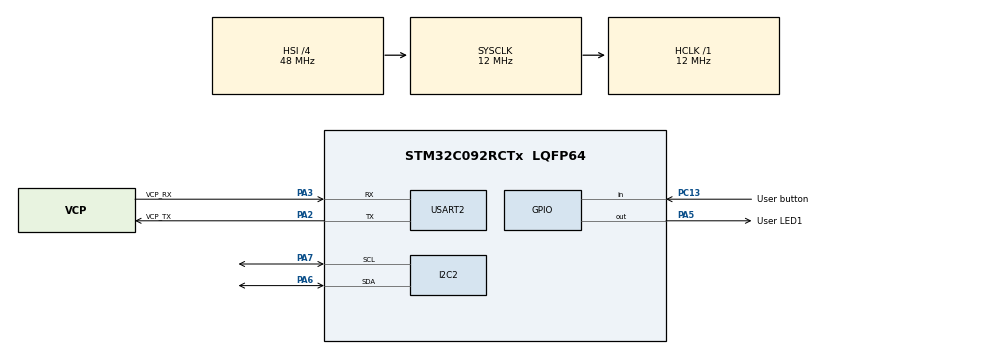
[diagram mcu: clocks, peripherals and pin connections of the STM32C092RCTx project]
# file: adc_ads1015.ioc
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I2C2.Timing=0x00402D41
Mcu.Family=STM32C0
Mcu.Name=STM32C092RCTx
Mcu.Package=LQFP64
PA13.GPIO_Label=SWDIO
PA13.Signal=DEBUG_SWDIO
PA14-BOOT0.GPIO_Label=SWCLK
PA14-BOOT0.Signal=DEBUG_SWCLK
PA2.GPIO_Label=VCP_TX
PA2.Mode=Asynchronous
PA2.Signal=USART2_TX
PA3.GPIO_Label=VCP_RX
PA3.Mode=Asynchronous
PA3.Signal=USART2_RX
PA5.GPIO_Label=User LED1
PA5.Signal=GPIO_Output
PA6.Mode=I2C
PA6.Signal=I2C2_SDA
PA7.Mode=I2C
PA7.Signal=I2C2_SCL
PC13.GPIO_Label=User button
PC13.Signal=GPIO_Input
PC14-OSCX_IN(PC14).GPIO_Label=OSCX_IN
PC14-OSCX_IN(PC14).Signal=RCC_OSCX_IN
PC15-OSCX_OUT(PC15).GPIO_Label=OSCX_OUT
PC15-OSCX_OUT(PC15).Signal=RCC_OSCX_OUT
PF0-OSC_IN(PF0).GPIO_Label=OSC_IN
PF0-OSC_IN(PF0).Signal=RCC_OSC_IN
PF1-OSC_OUT(PF1).GPIO_Label=OSC_OUT
PF1-OSC_OUT(PF1).Signal=RCC_OSC_OUT
ProjectManager.HeapSize=0x200
ProjectManager.StackSize=0x400
ProjectManager.TargetToolchain=STM32CubeIDE
RCC.ADCFreq_Value=12000000
RCC.AHBFreq_Value=12000000
RCC.CortexFreq_Value=12000000
RCC.EXTERNAL_CLOCK_VALUE=12288000
RCC.HCLKFreq_Value=12000000
RCC.HSE_VALUE=8000000
RCC.HSI_VALUE=48000000
RCC.LSE_VALUE=32768
RCC.SYSCLKFreq_VALUE=12000000
USART2.VirtualMode-Asynchronous=VM_ASYNC
board=NUCLEO-C092RC

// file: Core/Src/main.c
/* USER CODE BEGIN Header */
/**
  ******************************************************************************
  * @file           : main.c
  * @brief          : Main program body
  ******************************************************************************
  * @attention
  *
  * Copyright (c) 2026 STMicroelectronics.
  * All rights reserved.
  *
  * This software is licensed under terms that can be found in the LICENSE file
  * in the root directory of this software component.
  * If no LICENSE file comes with this software, it is provided AS-IS.
  *
  ******************************************************************************
  */
/* USER CODE END Header */
#include "main.h"

/* USER CODE BEGIN Includes */
#include <stdio.h>
/* USER CODE END Includes */

I2C_HandleTypeDef hi2c2;

UART_HandleTypeDef huart2;

/* USER CODE BEGIN PV */
#define ADS1015_ADDR        (0x48 << 1)
#define ADS1015_REG_CONV    0x00
#define ADS1015_REG_CONFIG  0x01
volatile int16_t g_ch0_raw = 0;
volatile int16_t g_ch1_raw = 0;
volatile int16_t g_ch2_raw = 0;
volatile int16_t g_ch3_raw = 0;
volatile int32_t g_ch0_mv = 0;
volatile int32_t g_ch1_mv = 0;
volatile int32_t g_ch2_mv = 0;
volatile int32_t g_ch3_mv = 0;
/* USER CODE END PV */

void SystemClock_Config(void);
static void MX_GPIO_Init(void);
static void MX_USART2_UART_Init(void);
static void MX_I2C2_Init(void);

/* USER CODE BEGIN 0 */
// Reads one channel from ADS1015 in single-ended mode, ±4.096V range
int16_t ADS1015_Read(uint8_t channel)
{
    if (channel > 3) return 0;

    // Build 16-bit config word:
    //   Bit 15:    OS = 1 (start single conversion)
    //   Bits 14:12 MUX = 100 + channel (single-ended: AINx vs GND)
    //   Bits 11:9  PGA = 001 (±4.096V range — covers 0..3.3V)
    //   Bit 8:     MODE = 1 (single-shot)
    //   Bits 7:5   DR = 100 (1600 SPS, default)
    //   Bit 4:     COMP_MODE = 0
    //   Bit 3:     COMP_POL = 0
    //   Bit 2:     COMP_LAT = 0
    //   Bits 1:0   COMP_QUE = 11 (disable comparator)
    uint16_t config = 0
        | (1U << 15)                        // start conversion
        | ((uint16_t)(0x4 | channel) << 12) // MUX: AINx vs GND
        | (0x1 << 9)                        // PGA = ±4.096V
        | (1U << 8)                         // single-shot mode
        | (0x4 << 5)                        // 1600 SPS
        | 0x3;                              // disable comparator

    // Write config to register 0x01 (3 bytes: pointer + config MSB + config LSB)
    uint8_t tx[3];
    tx[0] = ADS1015_REG_CONFIG;
    tx[1] = (uint8_t)(config >> 8);
    tx[2] = (uint8_t)(config & 0xFF);

    HAL_StatusTypeDef s1 = HAL_I2C_Master_Transmit(
        &hi2c2, ADS1015_ADDR, tx, 3, HAL_MAX_DELAY);
    if (s1 != HAL_OK) {
        printf("  [I2C write failed: %d]\r\n", (int)s1);
        return 0;
    }

    // Wait for conversion. At 1600 SPS, conversion takes ~625 us.
    // 2ms is plenty of margin.
    HAL_Delay(2);

    // Set pointer register to conversion register (0x00)
    uint8_t ptr = ADS1015_REG_CONV;
    HAL_StatusTypeDef s2 = HAL_I2C_Master_Transmit(
        &hi2c2, ADS1015_ADDR, &ptr, 1, HAL_MAX_DELAY);
    if (s2 != HAL_OK) {
        printf("  [I2C ptr write failed: %d]\r\n", (int)s2);
        return 0;
    }

    // Read 2 bytes of result
    uint8_t rx[2] = {0};
    HAL_StatusTypeDef s3 = HAL_I2C_Master_Receive(
        &hi2c2, ADS1015_ADDR, rx, 2, HAL_MAX_DELAY);
    if (s3 != HAL_OK) {
        printf("  [I2C read failed: %d]\r\n", (int)s3);
        return 0;
    }

    // Combine to 16-bit value, then shift right 4 (ADS1015 result is left-aligned)
    int16_t raw = (int16_t)(((uint16_t)rx[0] << 8) | rx[1]);
    raw >>= 4;
    return raw;
}
/* USER CODE END 0 */

int main(void)
{

  /* MCU Configuration--------------------------------------------------------*/

  /* Reset of all peripherals, Initializes the Flash interface and the Systick. */
  HAL_Init();

  /* Configure the system clock */
  SystemClock_Config();

  /* Initialize all configured peripherals */
  MX_GPIO_Init();
  MX_USART2_UART_Init();
  MX_I2C2_Init();
  /* USER CODE BEGIN 2 */
  HAL_Delay(500);
  printf("PGA = +/- 4.096V, single-shot, 1600 SPS\r\n\r\n");

  // Quick presence check — scan for the device at 0x48
  if (HAL_I2C_IsDeviceReady(&hi2c2, ADS1015_ADDR, 3, 100) == HAL_OK) {
      printf("ADS1015 detected at 0x48\r\n\r\n");
  } else {
      printf("WARNING: ADS1015 not responding at 0x48\r\n");
      printf("Check: VDD/GND, SDA/SCL wiring, ADDR pin tied to GND\r\n\r\n");
  }
  /* USER CODE END 2 */

  /* Infinite loop */
  while (1)
  {

    /* USER CODE BEGIN 3 */
	    int16_t ch0 = ADS1015_Read(0);
	    int16_t ch1 = ADS1015_Read(1);
	    int16_t ch2 = ADS1015_Read(2);
	    int16_t ch3 = ADS1015_Read(3);

	    // PGA = ±4.096V → 1 LSB = 2 mV
	    int32_t mv0 = (int32_t)ch0 * 2;
	    int32_t mv1 = (int32_t)ch1 * 2;
	    int32_t mv2 = (int32_t)ch2 * 2;
	    int32_t mv3 = (int32_t)ch3 * 2;

	    printf("CH0: %5d (%5ld mV)   CH1: %5d (%5ld mV)   CH2: %5d (%5ld mV)   CH3: %5d (%5ld mV)\r\n",
	           ch0, mv0, ch1, mv1, ch2, mv2, ch3, mv3);

	    HAL_Delay(200);

  }
  /* USER CODE END 3 */
}

void SystemClock_Config(void)
{
  RCC_OscInitTypeDef RCC_OscInitStruct = {0};
  RCC_ClkInitTypeDef RCC_ClkInitStruct = {0};

  __HAL_FLASH_SET_LATENCY(FLASH_LATENCY_0);

  /** Initializes the RCC Oscillators according to the specified parameters
  * in the RCC_OscInitTypeDef structure.
  */
  RCC_OscInitStruct.OscillatorType = RCC_OSCILLATORTYPE_HSI;
  RCC_OscInitStruct.HSIState = RCC_HSI_ON;
  RCC_OscInitStruct.HSIDiv = RCC_HSI_DIV4;
  RCC_OscInitStruct.HSICalibrationValue = RCC_HSICALIBRATION_DEFAULT;
  if (HAL_RCC_OscConfig(&RCC_OscInitStruct) != HAL_OK)
  {
    Error_Handler();
  }

  /** Initializes the CPU, AHB and APB buses clocks
  */
  RCC_ClkInitStruct.ClockType = RCC_CLOCKTYPE_HCLK|RCC_CLOCKTYPE_SYSCLK
                              |RCC_CLOCKTYPE_PCLK1;
  RCC_ClkInitStruct.SYSCLKSource = RCC_SYSCLKSOURCE_HSI;
  RCC_ClkInitStruct.SYSCLKDivider = RCC_SYSCLK_DIV1;
  RCC_ClkInitStruct.AHBCLKDivider = RCC_HCLK_DIV1;
  RCC_ClkInitStruct.APB1CLKDivider = RCC_APB1_DIV1;

  if (HAL_RCC_ClockConfig(&RCC_ClkInitStruct, FLASH_LATENCY_0) != HAL_OK)
  {
    Error_Handler();
  }
}

static void MX_I2C2_Init(void)
{

  hi2c2.Instance = I2C2;
  hi2c2.Init.Timing = 0x00402D41;
  hi2c2.Init.OwnAddress1 = 0;
  hi2c2.Init.AddressingMode = I2C_ADDRESSINGMODE_7BIT;
  hi2c2.Init.DualAddressMode = I2C_DUALADDRESS_DISABLE;
  hi2c2.Init.OwnAddress2 = 0;
  hi2c2.Init.OwnAddress2Masks = I2C_OA2_NOMASK;
  hi2c2.Init.GeneralCallMode = I2C_GENERALCALL_DISABLE;
  hi2c2.Init.NoStretchMode = I2C_NOSTRETCH_DISABLE;
  if (HAL_I2C_Init(&hi2c2) != HAL_OK)
  {
    Error_Handler();
  }

  /** Configure Analogue filter
  */
  if (HAL_I2CEx_ConfigAnalogFilter(&hi2c2, I2C_ANALOGFILTER_ENABLE) != HAL_OK)
  {
    Error_Handler();
  }

  /** Configure Digital filter
  */
  if (HAL_I2CEx_ConfigDigitalFilter(&hi2c2, 0) != HAL_OK)
  {
    Error_Handler();
  }

}

static void MX_USART2_UART_Init(void)
{

  huart2.Instance = USART2;
  huart2.Init.BaudRate = 115200;
  huart2.Init.WordLength = UART_WORDLENGTH_8B;
  huart2.Init.StopBits = UART_STOPBITS_1;
  huart2.Init.Parity = UART_PARITY_NONE;
  huart2.Init.Mode = UART_MODE_TX_RX;
  huart2.Init.HwFlowCtl = UART_HWCONTROL_NONE;
  huart2.Init.OverSampling = UART_OVERSAMPLING_16;
  huart2.Init.OneBitSampling = UART_ONE_BIT_SAMPLE_DISABLE;
  huart2.Init.ClockPrescaler = UART_PRESCALER_DIV1;
  huart2.AdvancedInit.AdvFeatureInit = UART_ADVFEATURE_NO_INIT;
  if (HAL_UART_Init(&huart2) != HAL_OK)
  {
    Error_Handler();
  }

}

static void MX_GPIO_Init(void)
{
  GPIO_InitTypeDef GPIO_InitStruct = {0};

  /* GPIO Ports Clock Enable */
  __HAL_RCC_GPIOC_CLK_ENABLE();
  __HAL_RCC_GPIOF_CLK_ENABLE();
  __HAL_RCC_GPIOA_CLK_ENABLE();

  /*Configure GPIO pin Output Level */
  HAL_GPIO_WritePin(User_LED1_GPIO_Port, User_LED1_Pin, GPIO_PIN_RESET);

  /*Configure GPIO pin : User_button_Pin */
  GPIO_InitStruct.Pin = User_button_Pin;
  GPIO_InitStruct.Mode = GPIO_MODE_INPUT;
  GPIO_InitStruct.Pull = GPIO_NOPULL;
  HAL_GPIO_Init(User_button_GPIO_Port, &GPIO_InitStruct);

  /*Configure GPIO pin : User_LED1_Pin */
  GPIO_InitStruct.Pin = User_LED1_Pin;
  GPIO_InitStruct.Mode = GPIO_MODE_OUTPUT_PP;
  GPIO_InitStruct.Pull = GPIO_NOPULL;
  GPIO_InitStruct.Speed = GPIO_SPEED_FREQ_LOW;
  HAL_GPIO_Init(User_LED1_GPIO_Port, &GPIO_InitStruct);

}

/* USER CODE BEGIN 4 */
int __io_putchar(int ch) {
    HAL_UART_Transmit(&huart2, (uint8_t *)&ch, 1, HAL_MAX_DELAY);
    return ch;
}
/* USER CODE END 4 */

void Error_Handler(void)
{
  __disable_irq();
  while (1)
  {
  }
}
